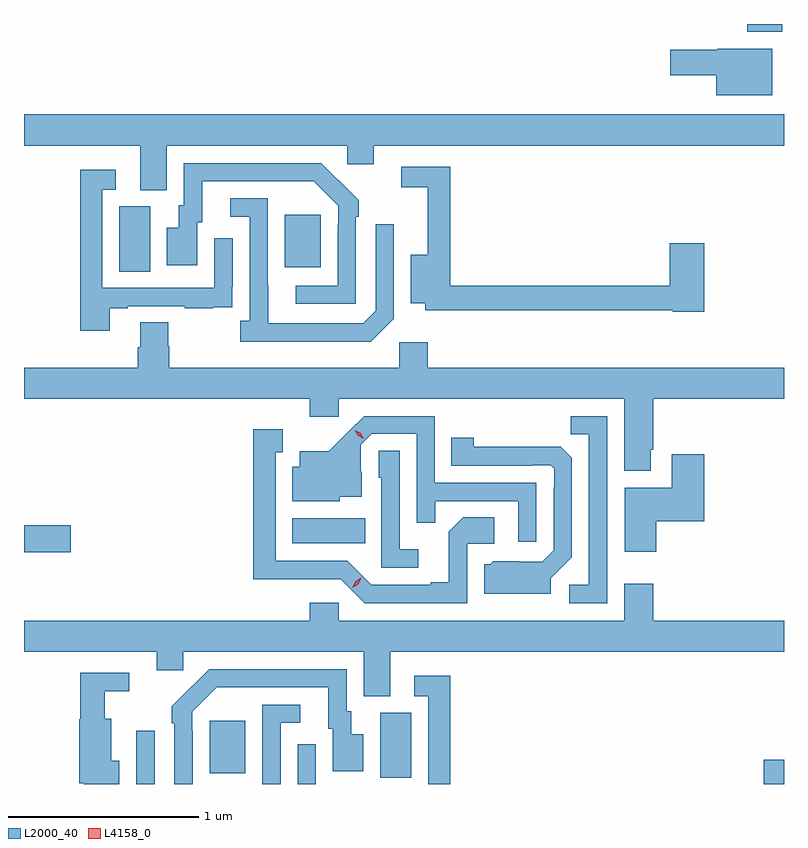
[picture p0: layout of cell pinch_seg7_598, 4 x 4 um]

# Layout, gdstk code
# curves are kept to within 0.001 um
import gdstk
lib = gdstk.Library(unit=1e-6, precision=1e-09)
def R(c, l, rs):  # rectangles x0, y0, x1, y1
    for r in rs: c.add(gdstk.rectangle(r[:2], r[2:], *l))
def P(c, l, *ps):  # polygons
    for p in ps: c.add(gdstk.Polygon(p, *l))
L2000_40 = (2000, 40)
L4158_0 = (4158, 0)

pinch_seg7_598 = lib.new_cell('pinch_seg7_598')
R(pinch_seg7_598, L2000_40, [(153.867,1037.216,153.963,1037.497), (154.716,1037.216,154.812,1037.425), (157.169,1037.216,157.276,1037.344), (155.15,1037.248,155.314,1037.592), (154.253,1037.273,154.441,1037.548), (153.276,1038.436,153.523,1038.578), (154.688,1038.482,155.072,1038.616), (153.776,1039.912,153.94,1040.256), (154.649,1039.937,154.837,1040.212), (157.083,1041.176,157.267,1041.216)])
P(pinch_seg7_598, L2000_40, [(157.213,1041.085),(156.924,1041.085),(156.924,1041.08),(156.678,1041.08),(156.678,1040.945),(156.92,1040.945),(156.92,1040.84),(157.213,1040.84)],
  [(154.027,1040.576),(154.977,1040.576),(154.977,1040.478),(155.116,1040.478),(155.116,1040.576),(157.276,1040.576),(157.276,1040.74),(153.276,1040.74),(153.276,1040.576),(153.887,1040.576),(153.887,1040.341),(154.027,1040.341)],
  [(155.022,1040.201),(155.037,1040.201),(155.037,1040.289),(154.84,1040.484),(154.116,1040.484),(154.116,1040.262),(154.091,1040.262),(154.091,1040.143),(154.028,1040.143),(154.028,1039.947),(154.189,1039.947),(154.189,1040.172),(154.213,1040.172),(154.213,1040.388),(154.801,1040.388),(154.929,1040.259),(154.929,1040.159),(154.926,1040.159),(154.926,1039.839),(154.707,1039.839),(154.707,1039.743),(155.022,1039.743)],
  [(156.857,1040.062),(156.674,1040.062),(156.674,1039.838),(155.519,1039.838),(155.519,1040.466),(155.262,1040.466),(155.262,1040.358),(155.402,1040.358),(155.402,1040.002),(155.312,1040.002),(155.312,1039.745),(155.388,1039.745),(155.388,1039.71),(156.69,1039.71),(156.69,1039.702),(156.857,1039.702)],
  [(153.727,1039.719),(153.823,1039.719),(153.823,1039.731),(154.123,1039.731),(154.123,1039.719),(154.271,1039.719),(154.271,1039.725),(154.373,1039.725),(154.373,1039.834),(154.374,1039.834),(154.374,1040.089),(154.278,1040.089),(154.278,1039.827),(153.687,1039.827),(153.687,1040.343),(153.76,1040.343),(153.76,1040.449),(153.571,1040.449),(153.571,1039.602),(153.727,1039.602)],
  [(155.223,1039.665),(155.223,1040.161),(155.127,1040.161),(155.127,1039.707),(155.061,1039.641),(154.561,1039.641),(154.56,1040.298),(154.362,1040.298),(154.362,1040.202),(154.464,1040.202),(154.464,1039.654),(154.413,1039.654),(154.413,1039.544),(155.102,1039.544)],
  [(156.574,1038.976),(156.587,1038.976),(156.587,1039.244),(157.276,1039.244),(157.276,1039.408),(155.402,1039.408),(155.402,1039.54),(155.25,1039.54),(155.25,1039.408),(154.04,1039.408),(154.04,1039.521),(154.035,1039.521),(154.035,1039.646),(153.887,1039.646),(153.887,1039.514),(153.875,1039.514),(153.875,1039.408),(153.276,1039.408),(153.276,1039.244),(154.781,1039.244),(154.781,1039.149),(154.932,1039.149),(154.932,1039.244),(156.434,1039.244),(156.434,1038.864),(156.574,1038.864)],
  [(156.345,1039.152),(156.154,1039.152),(156.154,1039.057),(156.249,1039.057),(156.249,1038.264),(156.147,1038.264),(156.147,1038.168),(156.345,1038.168)],
  [(155.973,1038.801),(155.439,1038.801),(155.439,1039.152),(155.066,1039.152),(154.879,1038.967),(154.727,1038.967),(154.727,1038.886),(154.688,1038.886),(154.688,1038.704),(154.938,1038.704),(154.938,1038.728),(155.053,1038.728),(155.053,1038.86),(155.049,1038.86),(155.049,1039.002),(155.106,1039.059),(155.343,1039.059),(155.343,1038.592),(155.441,1038.592),(155.441,1038.705),(155.877,1038.705),(155.877,1038.492),(155.973,1038.492)],
  [(155.61,1038.48),(155.752,1038.48),(155.752,1038.62),(155.587,1038.62),(155.511,1038.544),(155.511,1038.277),(155.417,1038.277),(155.417,1038.264),(155.103,1038.264),(154.977,1038.39),(154.6,1038.39),(154.6,1038.963),(154.639,1038.963),(154.639,1039.084),(154.482,1039.084),(154.482,1038.293),(154.944,1038.294),(155.07,1038.168),(155.61,1038.168)],
  [(156.049,1038.3),(156.159,1038.41),(156.159,1038.932),(156.1,1038.991),(155.643,1038.992),(155.643,1039.039),(155.524,1039.039),(155.524,1038.891),(155.948,1038.891),(155.948,1038.894),(156.048,1038.894),(156.066,1038.876),(156.066,1038.776),(156.063,1038.776),(156.063,1038.447),(156.003,1038.387),(155.746,1038.388),(155.73,1038.372),(155.699,1038.372),(155.699,1038.218),(156.049,1038.218)],
  [(155.35,1038.451),(155.253,1038.451),(155.253,1038.971),(155.142,1038.971),(155.142,1038.828),(155.157,1038.828),(155.157,1038.354),(155.35,1038.354)],
  [(156.604,1038.599),(156.857,1038.599),(156.857,1038.952),(156.686,1038.952),(156.686,1038.775),(156.437,1038.775),(156.437,1038.438),(156.604,1038.438)],
  [(155.203,1037.912),(157.276,1037.912),(157.276,1038.076),(156.587,1038.076),(156.587,1038.271),(156.434,1038.271),(156.434,1038.076),(154.932,1038.076),(154.932,1038.169),(154.781,1038.169),(154.781,1038.076),(153.276,1038.076),(153.276,1037.912),(153.974,1037.912),(153.974,1037.814),(154.113,1037.814),(154.113,1037.912),(155.063,1037.912),(155.063,1037.677),(155.203,1037.677)],
  [(154.164,1037.495),(154.161,1037.495),(154.161,1037.595),(154.29,1037.724),(154.877,1037.724),(154.877,1037.508),(154.901,1037.508),(154.901,1037.283),(155.062,1037.283),(155.062,1037.479),(154.999,1037.479),(154.999,1037.598),(154.974,1037.598),(154.974,1037.82),(154.25,1037.82),(154.053,1037.625),(154.053,1037.537),(154.068,1037.537),(154.068,1037.216),(154.164,1037.216)],
  [(153.778,1037.338),(153.736,1037.338),(153.736,1037.56),(153.7,1037.56),(153.7,1037.705),(153.829,1037.705),(153.829,1037.802),(153.571,1037.802),(153.571,1037.556),(153.566,1037.556),(153.566,1037.22),(153.59,1037.22),(153.59,1037.216),(153.778,1037.216)],
  [(155.519,1037.785),(155.331,1037.785),(155.331,1037.679),(155.403,1037.679),(155.403,1037.216),(155.519,1037.216)],
  [(154.626,1037.538),(154.729,1037.538),(154.729,1037.634),(154.53,1037.634),(154.53,1037.216),(154.626,1037.216)])
P(pinch_seg7_598, L4158_0, [(155.064,1039.034),(155.034,1039.049),(155.016,1039.079),(155.016,1039.079),(155.016,1039.079),(155.047,1039.064),(155.065,1039.034),(155.065,1039.034)],
  [(155.003,1038.249),(155.003,1038.249),(155.021,1038.282),(155.052,1038.301),(155.052,1038.301),(155.052,1038.301),(155.035,1038.268),(155.004,1038.249)])

lib.write_gds('pinch_seg7_598.gds')
